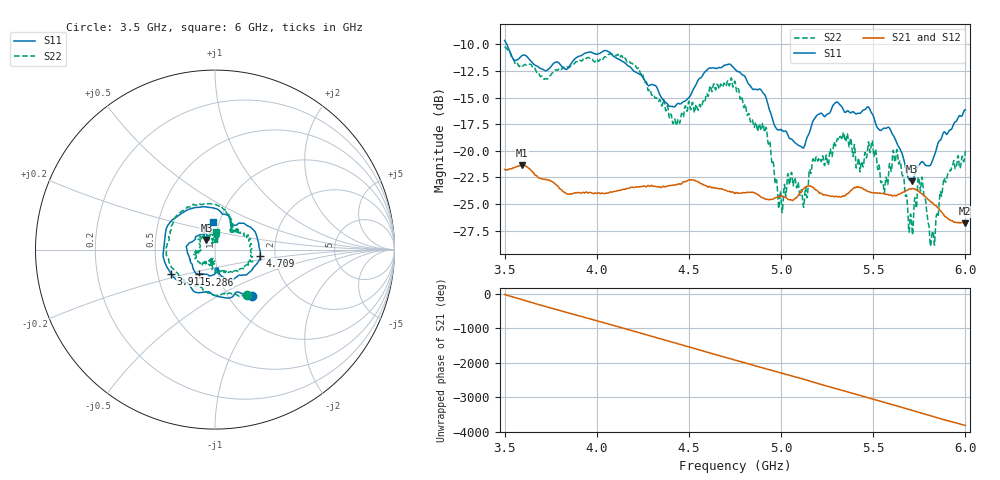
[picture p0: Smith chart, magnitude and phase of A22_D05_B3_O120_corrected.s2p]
! Created with skrf 1.9.0 (http://scikit-rf.org).
# Hz S RI R 50.0
!freq ReS11 ImS11 ReS21 ImS21 ReS12 ImS12 ReS22 ImS22
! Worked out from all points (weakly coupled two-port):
!   1601 points, 3.5 GHz to 6 GHz, reference 50 ohm
!   highest |S21| = -21.34 dB at 3.592 GHz (marker M1); lowest = -26.8 dB at 5.995 GHz (marker M2)
!   lowest |S11| = -22.9 dB at 5.708 GHz (marker M3), VSWR 1.16, Z = 45.2 + j4.89 ohm
!   |S11| at or under -10 dB: 3.511 GHz to end of sweep
!   |S22| runs from -29.0 to -10.2 dB; largest |S21 - S12| = 0.00098
!   S11 on the Smith chart (normalised r, x): 3.5 GHz: 1.28, -0.74; 3.911 GHz: 0.59, -0.17; 4.709 GHz: 1.67, -0.12; 5.286 GHz: 0.81, -0.23; 6 GHz: 0.93, +0.30
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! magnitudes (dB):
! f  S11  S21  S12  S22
! 3.5 GHz  -9.6  -21.8  -21.7  -10.2
! 3.592 GHz  -11.1  -21.3  -21.3  -12.0
! 3.911 GHz  -11.1  -24.0  -23.9  -11.5
! 3.917 GHz  -11.1  -24.0  -23.9  -11.6
! 4.144 GHz  -11.7  -23.6  -23.6  -11.4
! 4.334 GHz  -14.4  -23.4  -23.3  -15.4
! 4.441 GHz  -15.6  -23.2  -23.1  -17.1
! 4.709 GHz  -11.9  -23.8  -23.8  -13.5
! 4.75 GHz  -12.3  -24.0  -23.9  -13.5
! 4.912 GHz  -14.8  -24.5  -24.5  -18.2
! 4.997 GHz  -18.0  -24.3  -24.3  -23.8
! 5.13 GHz  -19.4  -23.5  -23.4  -23.7
! 5.167 GHz  -17.5  -23.4  -23.4  -21.5
! 5.286 GHz  -15.6  -24.3  -24.3  -19.2
! 5.584 GHz  -17.8  -24.1  -24.1  -21.9
! 5.638 GHz  -19.6  -24.1  -24.0  -21.2
! 5.708 GHz  -22.9  -23.6  -23.5  -26.7
! 5.755 GHz  -21.2  -23.9  -23.9  -23.6
! 5.822 GHz  -20.9  -24.9  -24.9  -27.7
! 5.891 GHz  -18.3  -26.2  -26.2  -22.9
! 5.995 GHz  -16.2  -26.8  -26.7  -20.6
! 6 GHz  -16.2  -26.8  -26.8  -20.0
